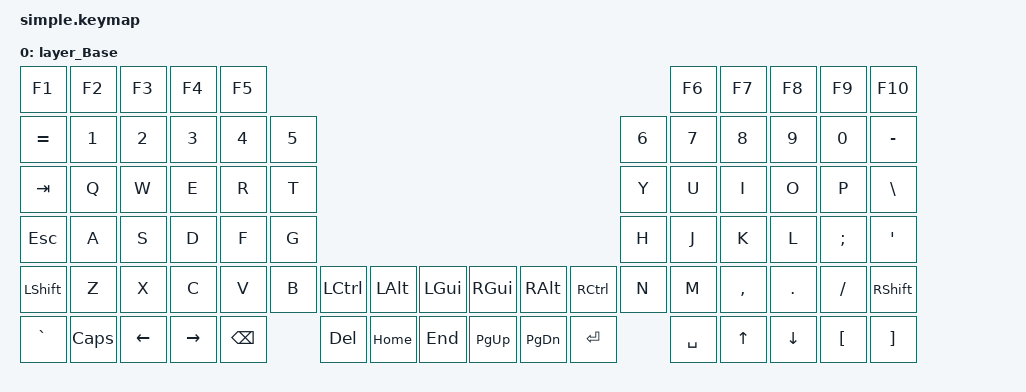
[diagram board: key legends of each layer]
/*
 * Minimal Glove80 keymap for testing
 */

#include <behaviors.dtsi>
#include <dt-bindings/zmk/keys.h>

/ {
    keymap {
        compatible = "zmk,keymap";

        layer_Base {
            bindings = <
                &kp F1    &kp F2    &kp F3    &kp F4    &kp F5                                                                                      &kp F6    &kp F7    &kp F8    &kp F9    &kp F10
                &kp EQUAL &kp N1    &kp N2    &kp N3    &kp N4    &kp N5                                                                  &kp N6    &kp N7    &kp N8    &kp N9    &kp N0    &kp MINUS
                &kp TAB   &kp Q     &kp W     &kp E     &kp R     &kp T                                                                   &kp Y     &kp U     &kp I     &kp O     &kp P     &kp BSLH
                &kp ESC   &kp A     &kp S     &kp D     &kp F     &kp G                                                                   &kp H     &kp J     &kp K     &kp L     &kp SEMI  &kp SQT
                &kp LSHFT &kp Z     &kp X     &kp C     &kp V     &kp B     &kp LCTRL &kp LALT  &kp LGUI  &kp RGUI  &kp RALT  &kp RCTRL   &kp N     &kp M     &kp COMMA &kp DOT   &kp FSLH  &kp RSHFT
                &kp GRAVE &kp CAPS  &kp LEFT  &kp RIGHT &kp BSPC            &kp DEL   &kp HOME  &kp END   &kp PG_UP &kp PG_DN &kp ENTER             &kp SPACE &kp UP    &kp DOWN  &kp LBKT  &kp RBKT
            >;
        };
    };
};
